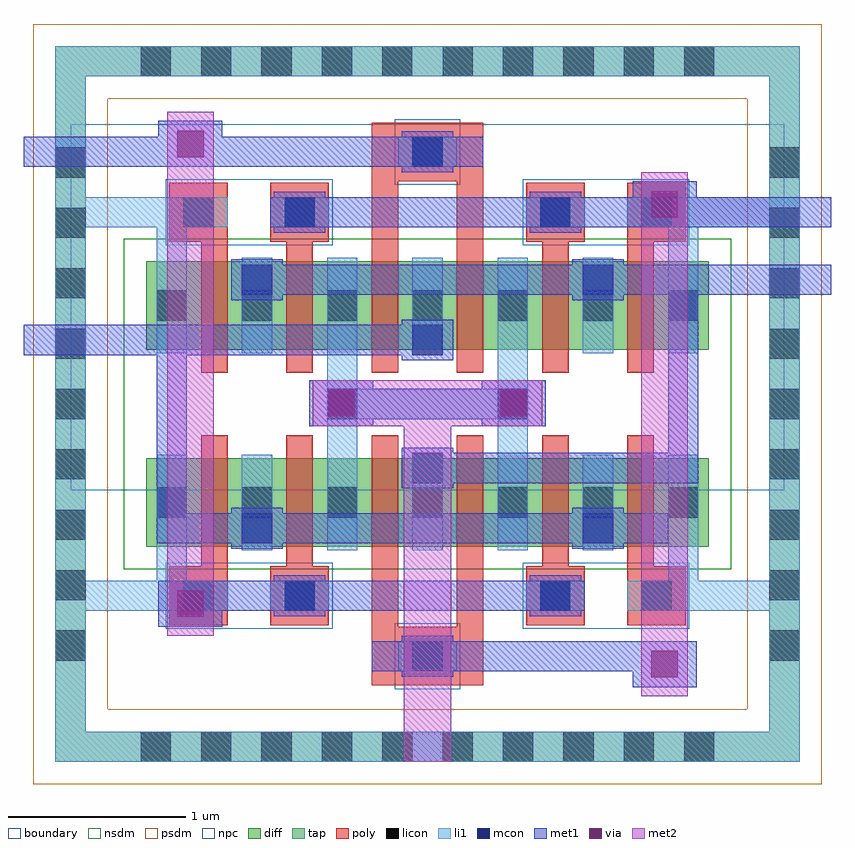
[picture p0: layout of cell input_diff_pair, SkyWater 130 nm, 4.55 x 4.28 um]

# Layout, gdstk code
import gdstk
lib = gdstk.Library(unit=1e-6, precision=1e-09)
def R(c, l, rs):  # rectangles x0, y0, x1, y1
    for r in rs: c.add(gdstk.rectangle(r[:2], r[2:], *l))
def A(c, l, x, y, w, h, nx, ny, dx, dy):  # array of equal rectangles
    R(c, l, [(x+i*dx, y+j*dy, x+i*dx+w, y+j*dy+h) for i in range(nx) for j in range(ny)])
diff = (65, 20)
tap = (65, 44)
poly = (66, 20)
licon = (66, 44)
li1 = (67, 20)
mcon = (67, 44)
met1 = (68, 20)
via = (68, 44)
met2 = (69, 20)
nsdm = (93, 44)
psdm = (94, 20)
npc = (95, 20)
boundary = (235, 4)

input_diff_pair = lib.new_cell('input_diff_pair')
R(input_diff_pair, diff, [(-1.585,-1.35,1.585,-0.85), (-1.585,-0.24,1.585,0.26)])
R(input_diff_pair, tap, [(-2.095,-2.56,2.095,-2.39), (-2.095,-2.39,-1.925,1.3), (1.925,-2.39,2.095,1.3), (-2.095,1.3,2.095,1.47)])
R(input_diff_pair, poly, [(-0.315,-2.13,0.315,-1.8), (-0.315,-1.8,-0.165,-0.72), (0.165,-1.8,0.315,-0.72), (-1.455,-1.79,-1.125,-1.46), (-0.885,-1.79,-0.555,-1.46), (0.555,-1.79,0.885,-1.46), (1.125,-1.79,1.455,-1.46), (-1.275,-1.46,-1.125,-0.72), (-0.795,-1.46,-0.645,-0.72), (0.645,-1.46,0.795,-0.72), (1.125,-1.46,1.275,-0.72), (-1.275,-0.37,-1.125,0.37), (-0.795,-0.37,-0.645,0.37), (-0.315,-0.37,-0.165,0.71), (0.165,-0.37,0.315,0.71), (0.645,-0.37,0.795,0.37), (1.125,-0.37,1.275,0.37), (-1.455,0.37,-1.125,0.7), (-0.885,0.37,-0.555,0.7), (0.555,0.37,0.885,0.7), (1.125,0.37,1.455,0.7), (-0.315,0.71,0.315,1.04)])
A(input_diff_pair, licon, -1.615, -2.56, 0.17, 0.17, 10, 2, 0.34, 3.86)
A(input_diff_pair, licon, -2.095, -1.99, 0.17, 0.17, 1, 9, 0, 0.34)
A(input_diff_pair, licon, 1.925, -1.99, 0.17, 0.17, 1, 9, 0, 0.34)
A(input_diff_pair, licon, -1.525, -1.185, 0.17, 0.17, 7, 2, 0.48, 1.11)
R(input_diff_pair, licon, [(-0.085,-2.05,0.085,-1.88), (-1.375,-1.71,-1.205,-1.54), (-0.805,-1.71,-0.635,-1.54), (0.635,-1.71,0.805,-1.54), (1.205,-1.71,1.375,-1.54), (-1.375,0.45,-1.205,0.62), (-0.805,0.45,-0.635,0.62), (0.635,0.45,0.805,0.62), (1.205,0.45,1.375,0.62), (-0.085,0.79,0.085,0.96)])
R(input_diff_pair, li1, [(-2.095,-2.56,2.095,-2.39), (-2.095,-2.39,-1.925,-1.71), (1.925,-2.39,2.095,-1.71), (-0.165,-2.05,0.165,-1.88), (-2.095,-1.71,-1.125,-1.54), (-0.885,-1.71,-0.555,-1.54), (0.555,-1.71,0.885,-1.54), (1.125,-1.71,2.095,-1.54), (-2.095,-1.54,-1.925,0.45), (-1.525,-1.54,-1.355,-0.83), (1.355,-1.54,1.525,-0.83), (1.925,-1.54,2.095,0.45), (-1.045,-1.37,-0.875,-0.83), (-0.565,-1.37,-0.395,-0.63), (-0.085,-1.37,0.085,-0.82), (0.395,-1.37,0.565,-0.63), (0.875,-1.37,1.045,-0.83), (-0.565,-0.63,0.565,-0.46), (-0.565,-0.46,-0.395,0.28), (0.395,-0.46,0.565,0.28), (-0.085,-0.27,0.085,0.28), (-1.525,-0.26,-1.355,0.45), (-1.045,-0.26,-0.875,0.28), (0.875,-0.26,1.045,0.28), (1.355,-0.26,1.525,0.45), (-2.095,0.45,-1.125,0.62), (-0.885,0.45,-0.555,0.62), (0.555,0.45,0.885,0.62), (1.125,0.45,2.095,0.62), (-2.095,0.62,-1.925,1.3), (1.925,0.62,2.095,1.3), (-0.165,0.79,0.165,0.96), (-2.095,1.3,2.095,1.47)])
R(input_diff_pair, mcon, [(-0.085,-2.05,0.085,-1.88), (-0.805,-1.71,-0.635,-1.54), (0.635,-1.71,0.805,-1.54), (-1.045,-1.33,-0.875,-1.16), (0.875,-1.33,1.045,-1.16), (-0.085,-0.99,0.085,-0.82), (-0.565,-0.63,-0.395,-0.46), (0.395,-0.63,0.565,-0.46), (-0.085,-0.27,0.085,-0.1), (-1.045,0.07,-0.875,0.24), (0.875,0.07,1.045,0.24), (-0.805,0.45,-0.635,0.62), (0.635,0.45,0.805,0.62), (-0.085,0.79,0.085,0.96)])
R(input_diff_pair, met1, [(1.155,-2.14,1.515,-2.05), (-0.145,-2.08,0.145,-2.05), (-0.315,-2.05,1.515,-1.88), (-0.145,-1.88,0.145,-1.85), (-1.515,-1.8,-1.155,-1.71), (-0.865,-1.74,-0.575,-1.71), (0.575,-1.74,0.865,-1.71), (-1.515,-1.71,0.885,-1.54), (-0.865,-1.54,-0.575,-1.51), (0.575,-1.54,0.865,-1.51), (-1.105,-1.36,-0.815,-1.33), (0.815,-1.36,1.105,-1.33), (-1.525,-1.33,1.355,-1.16), (-1.525,-1.16,-1.355,-0.27), (-1.105,-1.16,-0.815,-1.13), (0.815,-1.16,1.105,-1.13), (-0.145,-1.02,0.145,-0.99), (-0.145,-0.99,1.525,-0.82), (-0.145,-0.82,0.145,-0.79), (1.355,-0.82,1.525,0.07), (-0.665,-0.67,-0.305,-0.63), (0.305,-0.67,0.665,-0.63), (-0.665,-0.63,0.665,-0.46), (-0.665,-0.46,-0.305,-0.41), (0.305,-0.46,0.665,-0.41), (-0.145,-0.3,0.145,-0.27), (-2.275,-0.27,0.145,-0.1), (-0.145,-0.1,0.145,-0.07), (-1.105,0.04,-0.815,0.07), (0.815,0.04,1.105,0.07), (-1.105,0.07,2.275,0.24), (-1.105,0.24,-0.815,0.27), (0.815,0.24,1.105,0.27), (-0.865,0.42,-0.575,0.45), (0.575,0.42,0.865,0.45), (-0.885,0.45,2.275,0.62), (-0.865,0.62,-0.575,0.65), (0.575,0.62,0.865,0.65), (1.155,0.62,1.515,0.71), (-0.145,0.76,0.145,0.79), (-2.275,0.79,0.315,0.96), (-1.515,0.96,-1.155,1.05), (-0.145,0.96,0.145,0.99)])
R(input_diff_pair, via, [(1.26,-2.085,1.41,-1.935), (-1.41,-1.745,-1.26,-1.595), (-0.56,-0.615,-0.41,-0.465), (0.41,-0.615,0.56,-0.465), (1.26,0.505,1.41,0.655), (-1.41,0.845,-1.26,0.995)])
R(input_diff_pair, met2, [(-0.135,-2.56,0.135,-0.67), (1.205,-2.19,1.465,0.76), (-1.465,-1.85,-1.205,1.1), (-0.645,-0.67,0.645,-0.41)])
R(input_diff_pair, nsdm, [(-1.71,-1.475,1.71,0.385)])
R(input_diff_pair, psdm, [(-2.22,-2.685,2.22,-2.265), (-2.22,-2.265,-1.8,1.175), (1.8,-2.265,2.22,1.175), (-2.22,1.175,2.22,1.595)])
R(input_diff_pair, npc, [(-0.185,-2.15,0.185,-1.78), (-1.475,-1.81,-0.535,-1.44), (0.535,-1.81,1.475,-1.44), (-1.475,0.35,-0.535,0.72), (0.535,0.35,1.475,0.72), (-0.185,0.69,0.185,1.06)])
R(input_diff_pair, boundary, [(-2.01,-1.03,2.01,1.03)])

lib.write_gds('input_diff_pair.gds')
